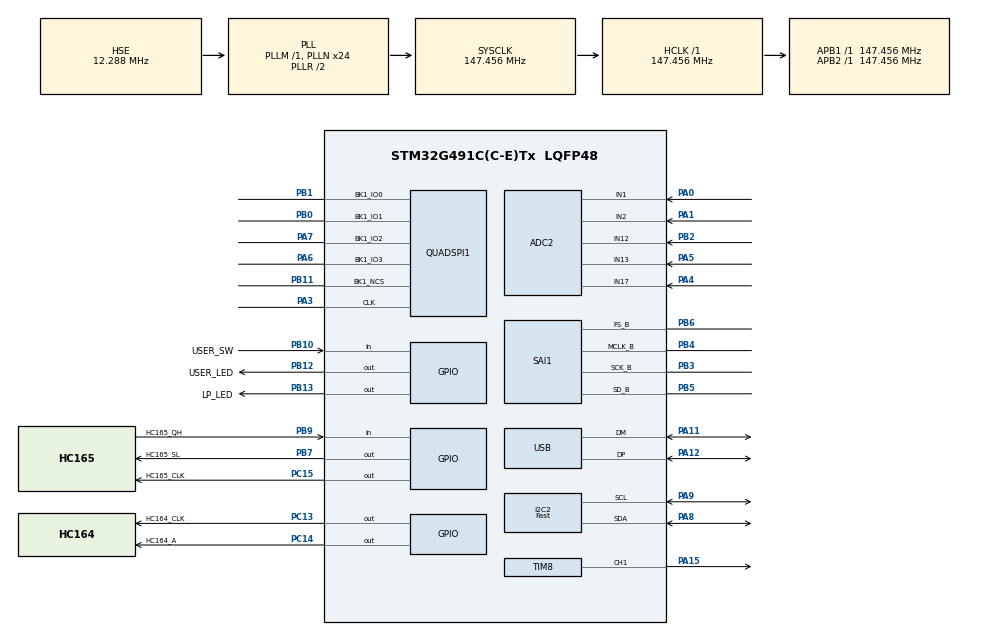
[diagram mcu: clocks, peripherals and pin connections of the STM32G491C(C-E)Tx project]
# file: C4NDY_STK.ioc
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ADC2.Channel-0\#ChannelRegularConversion=ADC_CHANNEL_2
ADC2.Channel-1\#ChannelRegularConversion=ADC_CHANNEL_12
ADC2.Channel-2\#ChannelRegularConversion=ADC_CHANNEL_1
ADC2.Channel-3\#ChannelRegularConversion=ADC_CHANNEL_17
ADC2.Channel-4\#ChannelRegularConversion=ADC_CHANNEL_13
ADC2.ClockPrescaler=ADC_CLOCK_ASYNC_DIV4
ADC2.ContinuousConvMode=ENABLE
ADC2.DMAContinuousRequests=ENABLE
ADC2.NbrOfConversion=5
ADC2.NbrOfConversionFlag=1
ADC2.OffsetNumber-0\#ChannelRegularConversion=ADC_OFFSET_NONE
ADC2.OffsetNumber-1\#ChannelRegularConversion=ADC_OFFSET_NONE
ADC2.OffsetNumber-2\#ChannelRegularConversion=ADC_OFFSET_NONE
ADC2.OffsetNumber-3\#ChannelRegularConversion=ADC_OFFSET_NONE
ADC2.OffsetNumber-4\#ChannelRegularConversion=ADC_OFFSET_NONE
ADC2.Rank-0\#ChannelRegularConversion=1
ADC2.Rank-1\#ChannelRegularConversion=2
ADC2.Rank-2\#ChannelRegularConversion=3
ADC2.Rank-3\#ChannelRegularConversion=4
ADC2.Rank-4\#ChannelRegularConversion=5
ADC2.SamplingTime-0\#ChannelRegularConversion=ADC_SAMPLETIME_640CYCLES_5
ADC2.SamplingTime-1\#ChannelRegularConversion=ADC_SAMPLETIME_640CYCLES_5
ADC2.SamplingTime-2\#ChannelRegularConversion=ADC_SAMPLETIME_640CYCLES_5
ADC2.SamplingTime-3\#ChannelRegularConversion=ADC_SAMPLETIME_640CYCLES_5
ADC2.SamplingTime-4\#ChannelRegularConversion=ADC_SAMPLETIME_640CYCLES_5
Dma.ADC2.1.Direction=DMA_PERIPH_TO_MEMORY
Dma.ADC2.1.EventEnable=DISABLE
Dma.ADC2.1.Instance=DMA1_Channel2
Dma.ADC2.1.MemDataAlignment=DMA_MDATAALIGN_HALFWORD
Dma.ADC2.1.MemInc=DMA_MINC_ENABLE
Dma.ADC2.1.Mode=DMA_CIRCULAR
Dma.ADC2.1.PeriphDataAlignment=DMA_PDATAALIGN_HALFWORD
Dma.ADC2.1.PeriphInc=DMA_PINC_DISABLE
Dma.ADC2.1.Polarity=HAL_DMAMUX_REQ_GEN_RISING
Dma.ADC2.1.Priority=DMA_PRIORITY_LOW
Dma.ADC2.1.RequestNumber=1
Dma.ADC2.1.SignalID=NONE
Dma.ADC2.1.SyncEnable=DISABLE
Dma.ADC2.1.SyncPolarity=HAL_DMAMUX_SYNC_NO_EVENT
Dma.ADC2.1.SyncRequestNumber=1
Dma.ADC2.1.SyncSignalID=NONE
Dma.Request0=SAI1_B
Dma.Request1=ADC2
Dma.Request2=TIM8_CH1
Dma.SAI1_B.0.Direction=DMA_MEMORY_TO_PERIPH
Dma.SAI1_B.0.EventEnable=DISABLE
Dma.SAI1_B.0.Instance=DMA1_Channel1
Dma.SAI1_B.0.MemDataAlignment=DMA_MDATAALIGN_WORD
Dma.SAI1_B.0.MemInc=DMA_MINC_ENABLE
Dma.SAI1_B.0.Mode=DMA_CIRCULAR
Dma.SAI1_B.0.PeriphDataAlignment=DMA_PDATAALIGN_WORD
Dma.SAI1_B.0.PeriphInc=DMA_PINC_DISABLE
Dma.SAI1_B.0.Polarity=HAL_DMAMUX_REQ_GEN_RISING
Dma.SAI1_B.0.Priority=DMA_PRIORITY_VERY_HIGH
Dma.SAI1_B.0.RequestNumber=1
Dma.SAI1_B.0.SignalID=NONE
Dma.SAI1_B.0.SyncEnable=DISABLE
Dma.SAI1_B.0.SyncPolarity=HAL_DMAMUX_SYNC_NO_EVENT
Dma.SAI1_B.0.SyncRequestNumber=1
Dma.SAI1_B.0.SyncSignalID=NONE
Dma.TIM8_CH1.2.Direction=DMA_MEMORY_TO_PERIPH
Dma.TIM8_CH1.2.EventEnable=DISABLE
Dma.TIM8_CH1.2.Instance=DMA1_Channel3
Dma.TIM8_CH1.2.MemDataAlignment=DMA_MDATAALIGN_WORD
Dma.TIM8_CH1.2.MemInc=DMA_MINC_ENABLE
Dma.TIM8_CH1.2.Mode=DMA_NORMAL
Dma.TIM8_CH1.2.PeriphDataAlignment=DMA_PDATAALIGN_WORD
Dma.TIM8_CH1.2.PeriphInc=DMA_PINC_DISABLE
Dma.TIM8_CH1.2.Polarity=HAL_DMAMUX_REQ_GEN_RISING
Dma.TIM8_CH1.2.Priority=DMA_PRIORITY_MEDIUM
Dma.TIM8_CH1.2.RequestNumber=1
Dma.TIM8_CH1.2.SignalID=NONE
Dma.TIM8_CH1.2.SyncEnable=DISABLE
Dma.TIM8_CH1.2.SyncPolarity=HAL_DMAMUX_SYNC_NO_EVENT
Dma.TIM8_CH1.2.SyncRequestNumber=1
Dma.TIM8_CH1.2.SyncSignalID=NONE
I2C2.I2C_Speed_Mode=I2C_Fast
I2C2.Timing=0x10E32777
Mcu.Family=STM32G4
Mcu.Name=STM32G491C(C-E)Tx
Mcu.Package=LQFP48
NVIC.ADC1_2_IRQn=true\:8\:0\:true\:false\:true\:true\:true\:true
NVIC.DMA1_Channel1_IRQn=true\:0\:0\:false\:false\:true\:false\:true\:true
NVIC.DMA1_Channel2_IRQn=true\:0\:0\:true\:false\:true\:false\:true\:true
NVIC.DMA1_Channel3_IRQn=true\:12\:0\:true\:false\:true\:false\:true\:true
NVIC.PriorityGroup=NVIC_PRIORITYGROUP_4
NVIC.SAI1_IRQn=true\:0\:0\:true\:false\:true\:true\:true\:true
NVIC.TIM6_DAC_IRQn=true\:12\:0\:true\:false\:true\:true\:true\:true
NVIC.USB_HP_IRQn=true\:0\:0\:true\:false\:true\:true\:true\:true
NVIC.USB_LP_IRQn=true\:10\:0\:true\:false\:true\:true\:true\:true
PA0.Signal=SharedAnalog_PA0
PA1.Signal=SharedAnalog_PA1
PA11.Mode=Device
PA11.Signal=USB_DM
PA12.Mode=Device
PA12.Signal=USB_DP
PA13.Mode=Serial_Wire
PA13.Signal=SYS_JTMS-SWDIO
PA14.Mode=Serial_Wire
PA14.Signal=SYS_JTCK-SWCLK
PA15.Signal=S_TIM8_CH1
PA3.GPIO_Speed=GPIO_SPEED_FREQ_VERY_HIGH
PA3.Mode=Single Bank 1
PA3.Signal=QUADSPI1_CLK
PA4.Signal=SharedAnalog_PA4
PA5.Signal=SharedAnalog_PA5
PA6.GPIO_Speed=GPIO_SPEED_FREQ_VERY_HIGH
PA6.Mode=Single Bank 1
PA6.Signal=QUADSPI1_BK1_IO3
PA7.GPIO_Speed=GPIO_SPEED_FREQ_VERY_HIGH
PA7.Mode=Single Bank 1
PA7.Signal=QUADSPI1_BK1_IO2
PA8.Mode=I2C
PA8.Signal=I2C2_SDA
PA9.Mode=I2C
PA9.Signal=I2C2_SCL
PB0.GPIO_Speed=GPIO_SPEED_FREQ_VERY_HIGH
PB0.Mode=Single Bank 1
PB0.Signal=QUADSPI1_BK1_IO1
PB1.GPIO_Speed=GPIO_SPEED_FREQ_VERY_HIGH
PB1.Mode=Single Bank 1
PB1.Signal=QUADSPI1_BK1_IO0
PB10.GPIO_Label=USER_SW
PB10.GPIO_PuPd=GPIO_PULLUP
PB10.Signal=GPIO_Input
PB11.GPIO_Speed=GPIO_SPEED_FREQ_VERY_HIGH
PB11.Mode=Single Bank 1
PB11.Signal=QUADSPI1_BK1_NCS
PB12.GPIO_Label=USER_LED
PB12.Signal=GPIO_Output
PB13.GPIO_Label=LP_LED
PB13.Signal=GPIO_Output
PB2.Signal=SharedAnalog_PB2
PB3.GPIO_Speed=GPIO_SPEED_FREQ_VERY_HIGH
PB3.Mode=SAI_B_MasterWithClock
PB3.Signal=SAI1_SCK_B
PB4.GPIO_Speed=GPIO_SPEED_FREQ_VERY_HIGH
PB4.Mode=SAI_B_MasterWithClock
PB4.Signal=SAI1_MCLK_B
PB5.GPIO_Speed=GPIO_SPEED_FREQ_VERY_HIGH
PB5.Mode=SAI_B_MasterWithClock
PB5.Signal=SAI1_SD_B
PB6.GPIO_FM6=__NULL
PB6.GPIO_Speed=GPIO_SPEED_FREQ_VERY_HIGH
PB6.Mode=SAI_B_MasterWithClock
PB6.Signal=SAI1_FS_B
PB7.GPIO_Label=HC165_SL
PB7.GPIO_Speed=GPIO_SPEED_FREQ_HIGH
PB7.Signal=GPIO_Output
PB9.GPIO_Label=HC165_QH
PB9.Signal=GPIO_Input
PC13.GPIO_Label=HC164_CLK
PC13.Signal=GPIO_Output
PC14-OSC32_IN.GPIO_Label=HC164_A
PC14-OSC32_IN.Signal=GPIO_Output
PC15-OSC32_OUT.GPIO_Label=HC165_CLK
PC15-OSC32_OUT.Signal=GPIO_Output
PF0-OSC_IN.Mode=HSE-External-Clock-Source
PF0-OSC_IN.Signal=RCC_OSC_IN
ProjectManager.HeapSize=0x200
ProjectManager.StackSize=0x400
ProjectManager.TargetToolchain=STM32CubeIDE
QUADSPI1.ClockMode=QSPI_CLOCK_MODE_0
QUADSPI1.ClockPrescaler=1
QUADSPI1.FifoThreshold=4
QUADSPI1.FlashSize=10
QUADSPI1.SampleShifting=QSPI_SAMPLE_SHIFTING_NONE
RCC.ADC12Freq_Value=147456000
RCC.ADC345Freq_Value=147456000
RCC.AHBFreq_Value=147456000
RCC.APB1Freq_Value=147456000
RCC.APB1TimFreq_Value=147456000
RCC.APB2Freq_Value=147456000
RCC.APB2TimFreq_Value=147456000
RCC.CortexFreq_Value=147456000
RCC.EXTERNAL_CLOCK_VALUE=12288000
RCC.HCLKFreq_Value=147456000
RCC.HSE_VALUE=12288000
RCC.HSI48_VALUE=48000000
RCC.HSI_VALUE=16000000
RCC.LSE_VALUE=32768
RCC.PLLN=24
RCC.PLLQ=RCC_PLLQ_DIV6
RCC.PLLSourceVirtual=RCC_PLLSOURCE_HSE
RCC.PWR_Regulator_Voltage_Scale=PWR_REGULATOR_VOLTAGE_SCALE1_BOOST
RCC.SAI1CLockSelection=RCC_SAI1CLKSOURCE_PLL
RCC.SYSCLKFreq_VALUE=147456000
RCC.SYSCLKSource=RCC_SYSCLKSOURCE_PLLCLK
RCC.USBFreq_Value=48000000
RCC.VCOOutputFreq_Value=294912000
SAI1.ActiveFrameLength-SAI_B_MasterWithClock=32
SAI1.AudioFrequency-SAI_B_MasterWithClock=SAI_AUDIO_FREQUENCY_48K
SAI1.DataSize-SAI_B_MasterWithClock=SAI_DATASIZE_24
SAI1.FIFOThreshold-SAI_B_MasterWithClock=SAI_FIFOTHRESHOLD_HF
SAI1.FirstBitOffset-SAI_B_MasterWithClock=0
SAI1.FrameLength-SAI_B_MasterWithClock=64
SAI1.Instance-SAI_B_MasterWithClock=SAI$Index_Block_B
SAI1.MckOutput-SAI_B_MasterWithClock=SAI_MCK_OUTPUT_ENABLE
SAI1.MckOverSampling-SAI_B_MasterWithClock=SAI_MCK_OVERSAMPLING_DISABLE
SAI1.MonoStereoMode-SAI_B_MasterWithClock=SAI_STEREOMODE
SAI1.NoDivider-SAI_B_MasterWithClock=SAI_MASTERDIVIDER_ENABLE
SAI1.SlotActive-SAI_B_MasterWithClock=0x0000FFFF
SAI1.SlotNumber-SAI_B_MasterWithClock=2
SAI1.SlotSize-SAI_B_MasterWithClock=SAI_SLOTSIZE_32B
SAI1.VirtualMode-SAI_B_MasterWithClock=VM_MASTER
SAI1.VirtualSlotActive-SAI_B_MasterWithClock=SAI_SLOTACTIVE_ALL
SH.S_TIM8_CH1.0=TIM8_CH1,PWM Generation1 CH1
SH.SharedAnalog_PA0.0=GPIO_Analog
SH.SharedAnalog_PA0.1=ADC2_IN1,IN1-Single-Ended
SH.SharedAnalog_PA1.0=GPIO_Analog
SH.SharedAnalog_PA1.1=ADC2_IN2,IN2-Single-Ended
SH.SharedAnalog_PA4.0=GPIO_Analog
SH.SharedAnalog_PA4.1=ADC2_IN17,IN17-Single-Ended
SH.SharedAnalog_PA5.0=GPIO_Analog
SH.SharedAnalog_PA5.1=ADC2_IN13,IN13-Single-Ended
SH.SharedAnalog_PB2.0=GPIO_Analog
SH.SharedAnalog_PB2.1=ADC2_IN12,IN12-Single-Ended
TIM6.PeriodNoDither=20-1
TIM6.Prescaler=32768-1
TIM8.Channel-PWM\ Generation1\ CH1=TIM_CHANNEL_1
TIM8.PeriodNoDither=15-1
TIM8.Prescaler=12-1
USB.Sof_enable=ENABLE
VP_SYS_VS_DBSignals.Mode=DisableDeadBatterySignals
VP_TIM6_VS_ClockSourceINT.Mode=Enable_Timer
VP_TIM8_VS_ClockSourceINT.Mode=Internal
board=custom

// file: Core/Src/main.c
/* USER CODE BEGIN Header */
/**
 ******************************************************************************
 * @file           : main.c
 * @brief          : Main program body
 ******************************************************************************
 * @attention
 *
 * Copyright (c) 2023 STMicroelectronics.
 * All rights reserved.
 *
 * This software is licensed under terms that can be found in the LICENSE file
 * in the root directory of this software component.
 * If no LICENSE file comes with this software, it is provided AS-IS.
 *
 ******************************************************************************
 */
/* USER CODE END Header */
#include "main.h"
#include "adc.h"
#include "dma.h"
#include "i2c.h"
#include "quadspi.h"
#include "sai.h"
#include "tim.h"
#include "usb.h"
#include "gpio.h"

/* USER CODE BEGIN Includes */
#include <stdbool.h>
#include <stdlib.h>
#include <math.h>

#include "usb_descriptors.h"  // IWYU pragma: keep

#include "icled.h"
#include "keyboard.h"
#include "audio_control.h"

// #include "ADAU1761_IC_1.h"
/* USER CODE END Includes */

/* USER CODE BEGIN PD */
#define FLASH_DATA_ADDR 0x0807F000

/* USER CODE END PD */

void SystemClock_Config(void);

/* USER CODE BEGIN 0 */

//--------------------------------------------------------------------+
// Application Callback API Implementations
//--------------------------------------------------------------------+
// Invoked when device is mounted
void tud_mount_cb(void)
{
    // blink_interval_ms = BLINK_MOUNTED;
}

// Invoked when device is unmounted
void tud_umount_cb(void)
{
    // blink_interval_ms = BLINK_NOT_MOUNTED;
}

// Invoked when usb bus is suspended
// remote_wakeup_en : if host allow us  to perform remote wakeup
// Within 7ms, device must draw an average of current less than 2.5 mA from bus
void tud_suspend_cb(bool remote_wakeup_en)
{
    (void) remote_wakeup_en;
    // blink_interval_ms = BLINK_SUSPENDED;
}

// Invoked when usb bus is resumed
void tud_resume_cb(void)
{
    // blink_interval_ms = BLINK_MOUNTED;
}

#if 0
void HAL_TIM_PeriodElapsedCallback(TIM_HandleTypeDef* htim)
{
    if (htim == &htim6)
    {
        // SEGGER_RTT_printf(0, "timer 6...\n");
        led_control_task();
    }
}
#endif

void erase_flash_data(void)
{
    static FLASH_EraseInitTypeDef EraseInitStruct;
    uint32_t PAGEError;
    EraseInitStruct.TypeErase = FLASH_TYPEERASE_PAGES;
    EraseInitStruct.Page      = 254;
    EraseInitStruct.NbPages   = 2;

    if (HAL_FLASHEx_Erase(&EraseInitStruct, &PAGEError) != HAL_OK)
    {
        SEGGER_RTT_printf(0, "flash erase error...\n");
    }
}

void write_flash_data(const uint16_t index, const uint8_t val)
{
    if (HAL_FLASH_Program(FLASH_TYPEPROGRAM_DOUBLEWORD, FLASH_DATA_ADDR + 8 * index, val) != HAL_OK)
    {
        SEGGER_RTT_printf(0, "[%d]:flash program error...\r\n", index);
    }
}

uint64_t read_flash_data(const uint16_t index)
{
    const uint64_t val = *(uint64_t*) (FLASH_DATA_ADDR + 8 * index);
    HAL_Delay(5);
    return val;
}

void setBootDfuFlag(bool is_boot_dfu)
{
    SEGGER_RTT_printf(0, "erase & write FLASH...\n");
    HAL_FLASH_Unlock();

    uint64_t currentKeyMap[2][MATRIX_ROWS][MATRIX_COLUMNS]    = {0x0};
    uint64_t currentModifiers[2][MATRIX_ROWS][MATRIX_COLUMNS] = {0x0};

    SEGGER_RTT_printf(0, "current KeyMap/Modifiers\n");
    for (int k = 0; k < 2; k++)
    {
        SEGGER_RTT_printf(0, "Layout:%d\n", k + 1);
        SEGGER_RTT_printf(0, "[\n");
        for (int i = 0; i < MATRIX_ROWS; i++)
        {
            SEGGER_RTT_printf(0, "[");
            for (int j = 0; j < MATRIX_COLUMNS; j++)
            {
                currentKeyMap[k][i][j]    = read_flash_data(BASIC_PARAMS_NUM + k * (MATRIX_ROWS * MATRIX_COLUMNS) + i * MATRIX_COLUMNS + j);
                currentModifiers[k][i][j] = read_flash_data(BASIC_PARAMS_NUM + (k + 2) * (MATRIX_ROWS * MATRIX_COLUMNS) + i * MATRIX_COLUMNS + j);
                SEGGER_RTT_printf(0, "{%02X, %02X} ", currentKeyMap[k][i][j], currentModifiers[k][i][j]);
            }
            SEGGER_RTT_printf(0, "]\n");
        }
        SEGGER_RTT_printf(0, "]\n\n");
    }

    uint64_t currentUpperKeyMap[2][MATRIX_ROWS][MATRIX_COLUMNS]    = {0x0};
    uint64_t currentUpperModifiers[2][MATRIX_ROWS][MATRIX_COLUMNS] = {0x0};

    SEGGER_RTT_printf(0, "current Upper KeyMap/Modifiers\n");
    for (int k = 0; k < 2; k++)
    {
        SEGGER_RTT_printf(0, "Layout:%d\n", k + 1);
        SEGGER_RTT_printf(0, "[\n");
        for (int i = 0; i < MATRIX_ROWS; i++)
        {
            SEGGER_RTT_printf(0, "[");
            for (int j = 0; j < MATRIX_COLUMNS; j++)
            {
                currentUpperKeyMap[k][i][j]    = read_flash_data(BASIC_PARAMS_NUM + (4 * MATRIX_ROWS * MATRIX_COLUMNS) + k * (MATRIX_ROWS * MATRIX_COLUMNS) + i * MATRIX_COLUMNS + j);
                currentUpperModifiers[k][i][j] = read_flash_data(BASIC_PARAMS_NUM + (4 * MATRIX_ROWS * MATRIX_COLUMNS) + (k + 2) * (MATRIX_ROWS * MATRIX_COLUMNS) + i * MATRIX_COLUMNS + j);
                SEGGER_RTT_printf(0, "{%02X, %02X} ", currentUpperKeyMap[k][i][j], currentUpperModifiers[k][i][j]);
            }
            SEGGER_RTT_printf(0, "]\n");
        }
        SEGGER_RTT_printf(0, "]\n\n");
    }

    uint64_t currentStickKeyMap[2][STICK_NUM][STICK_DIRECTION]    = {0x0};
    uint64_t currentStickModifiers[2][STICK_NUM][STICK_DIRECTION] = {0x0};

    SEGGER_RTT_printf(0, "current Stick KeyMap/Modifiers\n");
    for (int k = 0; k < 2; k++)
    {
        SEGGER_RTT_printf(0, "Layout:%d\n", k + 1);
        SEGGER_RTT_printf(0, "[\n");
        for (int i = 0; i < STICK_NUM; i++)
        {
            SEGGER_RTT_printf(0, "[");
            for (int j = 0; j < STICK_DIRECTION; j++)
            {
                currentStickKeyMap[k][i][j]    = read_flash_data(BASIC_PARAMS_NUM + (8 * MATRIX_ROWS * MATRIX_COLUMNS) + k * (STICK_NUM * STICK_DIRECTION) + i * STICK_DIRECTION + j);
                currentStickModifiers[k][i][j] = read_flash_data(BASIC_PARAMS_NUM + (8 * MATRIX_ROWS * MATRIX_COLUMNS) + (k + 2) * (STICK_NUM * STICK_DIRECTION) + i * STICK_DIRECTION + j);
                SEGGER_RTT_printf(0, "{%02X, %02X} ", currentStickKeyMap[k][i][j], currentModifiers[k][i][j]);
            }
            SEGGER_RTT_printf(0, "]\n");
        }
        SEGGER_RTT_printf(0, "]\n\n");
    }

    erase_flash_data();

    if (is_boot_dfu)
    {
        write_flash_data(0, 2);
    }
    else
    {
        write_flash_data(0, 0);
    }
    write_flash_data(1, getLinePhonoSW());
    write_flash_data(2, getKeymapID());
    write_flash_data(3, (uint8_t) (getIntensity(0) * 255));
    write_flash_data(4, (uint8_t) (getIntensity(1) * 255));

    SEGGER_RTT_printf(0, "reload KeyMap/Modifiers\n");
    for (int k = 0; k < 2; k++)
    {
        SEGGER_RTT_printf(0, "Layout:%d\n", k + 1);
        SEGGER_RTT_printf(0, "[\n");
        for (int i = 0; i < MATRIX_ROWS; i++)
        {
            SEGGER_RTT_printf(0, "[");
            for (int j = 0; j < MATRIX_COLUMNS; j++)
            {
                write_flash_data(BASIC_PARAMS_NUM + k * (MATRIX_ROWS * MATRIX_COLUMNS) + i * MATRIX_COLUMNS + j, currentKeyMap[k][i][j]);
                write_flash_data(BASIC_PARAMS_NUM + (k + 2) * (MATRIX_ROWS * MATRIX_COLUMNS) + i * MATRIX_COLUMNS + j, currentModifiers[k][i][j]);
                SEGGER_RTT_printf(0, "{%02X, %02X} ", currentKeyMap[k][i][j], currentModifiers[k][i][j]);
            }
            SEGGER_RTT_printf(0, "]\n");
        }
        SEGGER_RTT_printf(0, "]\n\n");
    }

    SEGGER_RTT_printf(0, "reload Upper KeyMap/Modifiers\n");
    for (int k = 0; k < 2; k++)
    {
        SEGGER_RTT_printf(0, "Layout:%d\n", k + 1);
        SEGGER_RTT_printf(0, "[\n");
        for (int i = 0; i < MATRIX_ROWS; i++)
        {
            SEGGER_RTT_printf(0, "[");
            for (int j = 0; j < MATRIX_COLUMNS; j++)
            {
                write_flash_data(BASIC_PARAMS_NUM + (4 * MATRIX_ROWS * MATRIX_COLUMNS) + k * (MATRIX_ROWS * MATRIX_COLUMNS) + i * MATRIX_COLUMNS + j, currentUpperKeyMap[k][i][j]);
                write_flash_data(BASIC_PARAMS_NUM + (4 * MATRIX_ROWS * MATRIX_COLUMNS) + (k + 2) * (MATRIX_ROWS * MATRIX_COLUMNS) + i * MATRIX_COLUMNS + j, currentUpperModifiers[k][i][j]);
                SEGGER_RTT_printf(0, "{%02X, %02X} ", currentUpperKeyMap[k][i][j], currentModifiers[k][i][j]);
            }
            SEGGER_RTT_printf(0, "]\n");
        }
        SEGGER_RTT_printf(0, "]\n\n");
    }

    SEGGER_RTT_printf(0, "reload Stick KeyMap/Modifiers\n");
    for (int k = 0; k < 2; k++)
    {
        SEGGER_RTT_printf(0, "Layout:%d\n", k + 1);
        SEGGER_RTT_printf(0, "[\n");
        for (int i = 0; i < STICK_NUM; i++)
        {
            SEGGER_RTT_printf(0, "[");
            for (int j = 0; j < STICK_DIRECTION; j++)
            {
                write_flash_data(BASIC_PARAMS_NUM + (8 * MATRIX_ROWS * MATRIX_COLUMNS) + k * (STICK_NUM * STICK_DIRECTION) + i * STICK_DIRECTION + j, currentStickKeyMap[k][i][j]);
                write_flash_data(BASIC_PARAMS_NUM + (8 * MATRIX_ROWS * MATRIX_COLUMNS) + (k + 2) * (STICK_NUM * STICK_DIRECTION) + i * STICK_DIRECTION + j, currentStickModifiers[k][i][j]);
                SEGGER_RTT_printf(0, "{%02X, %02X} ", currentStickKeyMap[k][i][j], currentModifiers[k][i][j]);
            }
            SEGGER_RTT_printf(0, "]\n");
        }
        SEGGER_RTT_printf(0, "]\n\n");
    }

    SEGGER_RTT_printf(0, "reload LEDs\n");
    SEGGER_RTT_printf(0, "Layout:1\n");
    SEGGER_RTT_printf(0, "[\n");
    SEGGER_RTT_printf(0, "  [%02X, %02X, %02X]\n", getNormalColor(0).r, getNormalColor(0).g, getNormalColor(0).b);
    SEGGER_RTT_printf(0, "  [%02X, %02X, %02X]\n", getUpperColor(0).r, getUpperColor(0).g, getUpperColor(0).b);
    SEGGER_RTT_printf(0, "  [%02X, %02X, %02X]\n", getShiftColor(0).r, getShiftColor(0).g, getShiftColor(0).b);
    SEGGER_RTT_printf(0, "]\n\n");

    write_flash_data(BASIC_PARAMS_NUM + (8 * MATRIX_ROWS * MATRIX_COLUMNS) + (4 * STICK_NUM * STICK_DIRECTION) + 0, getNormalColor(0).r);
    write_flash_data(BASIC_PARAMS_NUM + (8 * MATRIX_ROWS * MATRIX_COLUMNS) + (4 * STICK_NUM * STICK_DIRECTION) + 1, getNormalColor(0).g);
    write_flash_data(BASIC_PARAMS_NUM + (8 * MATRIX_ROWS * MATRIX_COLUMNS) + (4 * STICK_NUM * STICK_DIRECTION) + 2, getNormalColor(0).b);
    write_flash_data(BASIC_PARAMS_NUM + (8 * MATRIX_ROWS * MATRIX_COLUMNS) + (4 * STICK_NUM * STICK_DIRECTION) + 3, getUpperColor(0).r);
    write_flash_data(BASIC_PARAMS_NUM + (8 * MATRIX_ROWS * MATRIX_COLUMNS) + (4 * STICK_NUM * STICK_DIRECTION) + 4, getUpperColor(0).g);
    write_flash_data(BASIC_PARAMS_NUM + (8 * MATRIX_ROWS * MATRIX_COLUMNS) + (4 * STICK_NUM * STICK_DIRECTION) + 5, getUpperColor(0).b);
    write_flash_data(BASIC_PARAMS_NUM + (8 * MATRIX_ROWS * MATRIX_COLUMNS) + (4 * STICK_NUM * STICK_DIRECTION) + 6, getShiftColor(0).r);
    write_flash_data(BASIC_PARAMS_NUM + (8 * MATRIX_ROWS * MATRIX_COLUMNS) + (4 * STICK_NUM * STICK_DIRECTION) + 7, getShiftColor(0).g);
    write_flash_data(BASIC_PARAMS_NUM + (8 * MATRIX_ROWS * MATRIX_COLUMNS) + (4 * STICK_NUM * STICK_DIRECTION) + 8, getShiftColor(0).b);

    SEGGER_RTT_printf(0, "Layout:2\n");
    SEGGER_RTT_printf(0, "[\n");
    SEGGER_RTT_printf(0, "  [%02X, %02X, %02X]\n", getNormalColor(1).r, getNormalColor(1).g, getNormalColor(1).b);
    SEGGER_RTT_printf(0, "  [%02X, %02X, %02X]\n", getUpperColor(1).r, getUpperColor(1).g, getUpperColor(1).b);
    SEGGER_RTT_printf(0, "  [%02X, %02X, %02X]\n", getShiftColor(1).r, getShiftColor(1).g, getShiftColor(1).b);
    SEGGER_RTT_printf(0, "]\n\n");

    write_flash_data(BASIC_PARAMS_NUM + (8 * MATRIX_ROWS * MATRIX_COLUMNS) + (4 * STICK_NUM * STICK_DIRECTION) + 9, getNormalColor(1).r);
    write_flash_data(BASIC_PARAMS_NUM + (8 * MATRIX_ROWS * MATRIX_COLUMNS) + (4 * STICK_NUM * STICK_DIRECTION) + 10, getNormalColor(1).g);
    write_flash_data(BASIC_PARAMS_NUM + (8 * MATRIX_ROWS * MATRIX_COLUMNS) + (4 * STICK_NUM * STICK_DIRECTION) + 11, getNormalColor(1).b);
    write_flash_data(BASIC_PARAMS_NUM + (8 * MATRIX_ROWS * MATRIX_COLUMNS) + (4 * STICK_NUM * STICK_DIRECTION) + 12, getUpperColor(1).r);
    write_flash_data(BASIC_PARAMS_NUM + (8 * MATRIX_ROWS * MATRIX_COLUMNS) + (4 * STICK_NUM * STICK_DIRECTION) + 13, getUpperColor(1).g);
    write_flash_data(BASIC_PARAMS_NUM + (8 * MATRIX_ROWS * MATRIX_COLUMNS) + (4 * STICK_NUM * STICK_DIRECTION) + 14, getUpperColor(1).b);
    write_flash_data(BASIC_PARAMS_NUM + (8 * MATRIX_ROWS * MATRIX_COLUMNS) + (4 * STICK_NUM * STICK_DIRECTION) + 15, getShiftColor(1).r);
    write_flash_data(BASIC_PARAMS_NUM + (8 * MATRIX_ROWS * MATRIX_COLUMNS) + (4 * STICK_NUM * STICK_DIRECTION) + 16, getShiftColor(1).g);
    write_flash_data(BASIC_PARAMS_NUM + (8 * MATRIX_ROWS * MATRIX_COLUMNS) + (4 * STICK_NUM * STICK_DIRECTION) + 17, getShiftColor(1).b);

    HAL_FLASH_Lock();
}
/* USER CODE END 0 */

int main(void)
{

    /* MCU Configuration--------------------------------------------------------*/

    /* Reset of all peripherals, Initializes the Flash interface and the Systick. */
    HAL_Init();

    /* Configure the system clock */
    SystemClock_Config();

    /* Initialize all configured peripherals */
    MX_GPIO_Init();
    MX_DMA_Init();
    MX_SAI1_Init();
    MX_QUADSPI1_Init();
    MX_I2C2_Init();
    MX_USB_PCD_Init();
    MX_TIM6_Init();
    MX_ADC2_Init();
    MX_TIM8_Init();
    /* USER CODE BEGIN 2 */

    HAL_GPIO_WritePin(USER_LED_GPIO_Port, USER_LED_Pin, GPIO_PIN_SET);

    SEGGER_RTT_printf(0, "Unique Device ID = %X-%X-%X\n", HAL_GetUIDw0(), HAL_GetUIDw1(), HAL_GetUIDw2());

    // HAL_TIM_Base_Start_IT(&htim6);

    SEGGER_RTT_printf(0, "user_sw = %d\n", HAL_GPIO_ReadPin(USER_SW_GPIO_Port, USER_SW_Pin));
    if (!HAL_GPIO_ReadPin(USER_SW_GPIO_Port, USER_SW_Pin))
    {
        SEGGER_RTT_printf(0, "init flash data\n\r");

        factoryReset();
    }

    loadKeyboardSettingsFromFlash();
    loadLEDColorsFromFlash();
    SEGGER_RTT_printf(0, "\n");

    HAL_Delay(100);

    SEGGER_RTT_printf(0, "initialize ADAU1761...\n");
    default_download_IC_1();

    SEGGER_RTT_printf(0, "start ADC DMA...\n");
    start_adc();

    SEGGER_RTT_printf(0, "start SAI DMA...\n");
    start_sai();

    SEGGER_RTT_printf(0, "initialize tinyUSB...\n");
    tusb_init();

    int state_index = 0;
    /* USER CODE END 2 */

    /* Infinite loop */
    /* USER CODE BEGIN WHILE */
    while (1)
    {
        tud_task();

        read_audio_data_from_usb();

        switch (state_index)
        {
        case 0:
            hid_keyscan_task();
            state_index = 1;
            break;
        case 1:
            codec_control_task();
            state_index = 2;
            break;
        case 2:
            led_control_task();
            state_index = 0;
            break;
        default:
            state_index = 0;
        }
        /* USER CODE END WHILE */

    }
}

void SystemClock_Config(void)
{
    RCC_OscInitTypeDef RCC_OscInitStruct = {0};
    RCC_ClkInitTypeDef RCC_ClkInitStruct = {0};

    /** Configure the main internal regulator output voltage
     */
    HAL_PWREx_ControlVoltageScaling(PWR_REGULATOR_VOLTAGE_SCALE1_BOOST);

    /** Initializes the RCC Oscillators according to the specified parameters
     * in the RCC_OscInitTypeDef structure.
     */
    RCC_OscInitStruct.OscillatorType = RCC_OSCILLATORTYPE_HSI48 | RCC_OSCILLATORTYPE_HSE;
    RCC_OscInitStruct.HSEState       = RCC_HSE_BYPASS;
    RCC_OscInitStruct.HSI48State     = RCC_HSI48_ON;
    RCC_OscInitStruct.PLL.PLLState   = RCC_PLL_ON;
    RCC_OscInitStruct.PLL.PLLSource  = RCC_PLLSOURCE_HSE;
    RCC_OscInitStruct.PLL.PLLM       = RCC_PLLM_DIV1;
    RCC_OscInitStruct.PLL.PLLN       = 24;
    RCC_OscInitStruct.PLL.PLLP       = RCC_PLLP_DIV2;
    RCC_OscInitStruct.PLL.PLLQ       = RCC_PLLQ_DIV6;
    RCC_OscInitStruct.PLL.PLLR       = RCC_PLLR_DIV2;
    if (HAL_RCC_OscConfig(&RCC_OscInitStruct) != HAL_OK)
    {
        Error_Handler();
    }

    /** Initializes the CPU, AHB and APB buses clocks
     */
    RCC_ClkInitStruct.ClockType      = RCC_CLOCKTYPE_HCLK | RCC_CLOCKTYPE_SYSCLK | RCC_CLOCKTYPE_PCLK1 | RCC_CLOCKTYPE_PCLK2;
    RCC_ClkInitStruct.SYSCLKSource   = RCC_SYSCLKSOURCE_PLLCLK;
    RCC_ClkInitStruct.AHBCLKDivider  = RCC_SYSCLK_DIV1;
    RCC_ClkInitStruct.APB1CLKDivider = RCC_HCLK_DIV1;
    RCC_ClkInitStruct.APB2CLKDivider = RCC_HCLK_DIV1;

    if (HAL_RCC_ClockConfig(&RCC_ClkInitStruct, FLASH_LATENCY_4) != HAL_OK)
    {
        Error_Handler();
    }
}

void Error_Handler(void)
{
    __disable_irq();
    while (1)
    {
    }
}
